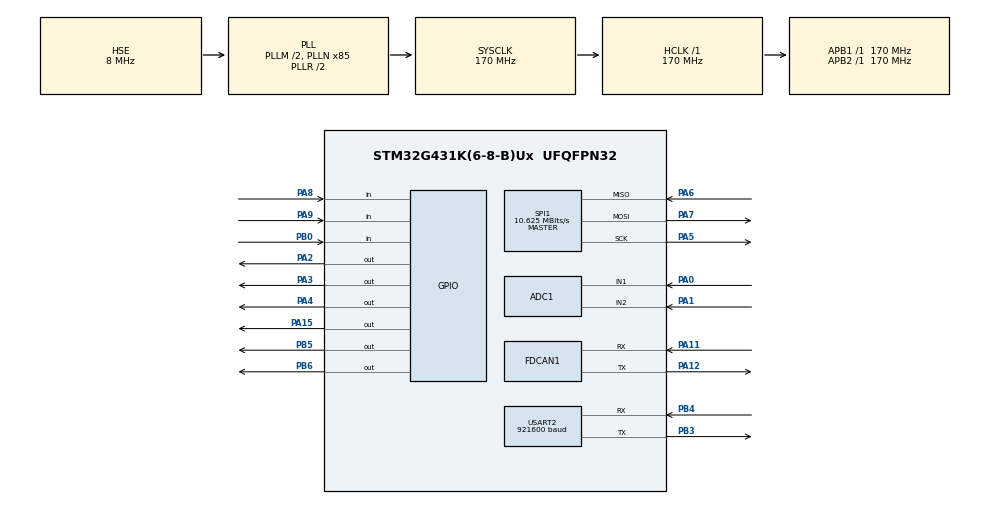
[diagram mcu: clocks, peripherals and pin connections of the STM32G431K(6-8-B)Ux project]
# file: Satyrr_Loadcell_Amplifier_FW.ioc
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ADC1.Channel-0\#ChannelRegularConversion=ADC_CHANNEL_1
ADC1.NbrOfConversionFlag=1
ADC1.OffsetNumber-0\#ChannelRegularConversion=ADC_OFFSET_NONE
ADC1.Rank-0\#ChannelRegularConversion=1
ADC1.SamplingTime-0\#ChannelRegularConversion=ADC_SAMPLETIME_2CYCLES_5
ADC1.SingleDiff-0\#ChannelRegularConversion=ADC_DIFFERENTIAL_ENDED
ADC1.master=1
FDCAN1.CalculateBaudRateNominal=1000000
FDCAN1.CalculateTimeBitNominal=1000
FDCAN1.CalculateTimeQuantumNominal=200.0
FDCAN1.NominalPrescaler=34
Mcu.Family=STM32G4
Mcu.Name=STM32G431K(6-8-B)Ux
Mcu.Package=UFQFPN32
NVIC.FDCAN1_IT0_IRQn=true\:0\:0\:false\:false\:true\:true\:true\:true
NVIC.PriorityGroup=NVIC_PRIORITYGROUP_4
NVIC.TIM1_UP_TIM16_IRQn=true\:0\:0\:false\:false\:true\:true\:true\:true
PA0.Mode=IN1-Differential
PA0.Signal=ADC1_IN1
PA1.Mode=IN1-Differential
PA1.Signal=ADC1_IN2
PA11.Mode=FDCAN_Activate
PA11.Signal=FDCAN1_RX
PA12.Mode=FDCAN_Activate
PA12.Signal=FDCAN1_TX
PA13.Mode=Serial_Wire
PA13.Signal=SYS_JTMS-SWDIO
PA14.Mode=Serial_Wire
PA14.Signal=SYS_JTCK-SWCLK
PA15.Signal=GPIO_Output
PA2.Signal=GPIO_Output
PA3.Signal=GPIO_Output
PA4.Signal=GPIO_Output
PA5.Mode=Full_Duplex_Master
PA5.Signal=SPI1_SCK
PA6.Mode=Full_Duplex_Master
PA6.Signal=SPI1_MISO
PA7.Mode=Full_Duplex_Master
PA7.Signal=SPI1_MOSI
PA8.Signal=GPIO_Input
PA9.Signal=GPIO_Input
PB0.Signal=GPIO_Input
PB3.Mode=Asynchronous
PB3.Signal=USART2_TX
PB4.Mode=Asynchronous
PB4.Signal=USART2_RX
PB5.Signal=GPIO_Output
PB6.Signal=GPIO_Output
PB7.Signal=I2C1_SDA
PB8-BOOT0.Signal=I2C1_SCL
PF0-OSC_IN.Mode=HSE-External-Oscillator
PF0-OSC_IN.Signal=RCC_OSC_IN
PF1-OSC_OUT.Mode=HSE-External-Oscillator
PF1-OSC_OUT.Signal=RCC_OSC_OUT
ProjectManager.HeapSize=0x200
ProjectManager.StackSize=0x400
ProjectManager.TargetToolchain=STM32CubeIDE
RCC.ADC12Freq_Value=170000000
RCC.AHBFreq_Value=170000000
RCC.APB1Freq_Value=170000000
RCC.APB1TimFreq_Value=170000000
RCC.APB2Freq_Value=170000000
RCC.APB2TimFreq_Value=170000000
RCC.CortexFreq_Value=170000000
RCC.EXTERNAL_CLOCK_VALUE=12288000
RCC.HCLKFreq_Value=170000000
RCC.HSE_VALUE=8000000
RCC.HSI48_VALUE=48000000
RCC.HSI_VALUE=16000000
RCC.LSE_VALUE=32768
RCC.PLLM=RCC_PLLM_DIV2
RCC.PLLN=85
RCC.PLLSourceVirtual=RCC_PLLSOURCE_HSE
RCC.SYSCLKFreq_VALUE=170000000
RCC.SYSCLKSource=RCC_SYSCLKSOURCE_PLLCLK
RCC.USBFreq_Value=170000000
RCC.VCOOutputFreq_Value=340000000
SPI1.BaudRatePrescaler=SPI_BAUDRATEPRESCALER_16
SPI1.CLKPhase=SPI_PHASE_1EDGE
SPI1.CalculateBaudRate=10.625 MBits/s
SPI1.DataSize=SPI_DATASIZE_8BIT
SPI1.Direction=SPI_DIRECTION_2LINES
SPI1.Mode=SPI_MODE_MASTER
SPI1.VirtualType=VM_MASTER
TIM1.AutoReloadPreload=TIM_AUTORELOAD_PRELOAD_ENABLE
TIM1.PeriodNoDither=26000
TIM1.Prescaler=12
USART2.BaudRate=921600
USART2.Mode=MODE_TX
USART2.VirtualMode-Asynchronous=VM_ASYNC
VP_TIM1_VS_ClockSourceINT.Mode=Internal
VP_TIM2_VS_ClockSourceINT.Mode=Internal
board=custom

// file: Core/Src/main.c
/* USER CODE BEGIN Header */
/**
  ******************************************************************************
  * @file           : main.c
  * @brief          : Main program body
  ******************************************************************************
  * @attention
  *
  * Copyright (c) 2023 STMicroelectronics.
  * All rights reserved.
  *
  * This software is licensed under terms that can be found in the LICENSE file
  * in the root directory of this software component.
  * If no LICENSE file comes with this software, it is provided AS-IS.
  *
  ******************************************************************************
  */
/* USER CODE END Header */
#include "main.h"
#include "adc.h"
#include "fdcan.h"
#include "spi.h"
#include "tim.h"
#include "usart.h"
#include "gpio.h"

void SystemClock_Config(void);

/* USER CODE BEGIN 0 */

void usleep(uint32_t us)
{
    // Clock cycles per microsecond for a 170MHz clock
    const uint32_t CYCLES_PER_MICROSECOND = 13; // ---> 170/13 (~13 clock cycles per operation)

    uint32_t totalCycles = us * CYCLES_PER_MICROSECOND;

    // Loop to execute the NOP instruction for the desired delay
    for (uint32_t i = 0; i < totalCycles; ++i)
    {
        asm volatile("NOP");
    }
}

/* USER CODE END 0 */

int main(void)
{

  /* MCU Configuration--------------------------------------------------------*/

  /* Reset of all peripherals, Initializes the Flash interface and the Systick. */
  HAL_Init();

  /* Configure the system clock */
  SystemClock_Config();

  /* USER CODE BEGIN SysInit */
  HAL_Delay(2000);
  /* USER CODE END SysInit */

  /* Initialize all configured peripherals */
  MX_GPIO_Init();
  MX_FDCAN1_Init();
  MX_SPI1_Init();
  MX_TIM2_Init();
  MX_ADC1_Init();
  MX_TIM1_Init();
  MX_USART2_UART_Init();
  /* USER CODE BEGIN 2 */

//  DWT_Init();

  // Enable GPIOB clock
  __HAL_RCC_GPIOA_CLK_ENABLE();
  __HAL_RCC_GPIOB_CLK_ENABLE();

  // Configure PB6 as output
  GPIO_InitTypeDef GPIO_InitStruct;
  GPIO_InitStruct.Pin = GPIO_PIN_5 | GPIO_PIN_6;
  GPIO_InitStruct.Mode = GPIO_MODE_OUTPUT_PP;
  GPIO_InitStruct.Pull = GPIO_NOPULL;
  GPIO_InitStruct.Speed = GPIO_SPEED_FREQ_HIGH;
  HAL_GPIO_Init(GPIOB, &GPIO_InitStruct);

  // Set chip selects as outputs and initialize them to high
  GPIO_InitTypeDef GPIO_InitStruct2 = {0};
  GPIO_InitStruct2.Pin = GPIO_PIN_2 | GPIO_PIN_3 | GPIO_PIN_4;
  GPIO_InitStruct2.Mode = GPIO_MODE_OUTPUT_PP;
  GPIO_InitStruct2.Pull = GPIO_NOPULL;
  GPIO_InitStruct2.Speed = GPIO_SPEED_FREQ_HIGH;
  HAL_GPIO_Init(GPIOA, &GPIO_InitStruct2);

  // GPIOA Pin 9 (PA9) configuration as input
  GPIO_InitTypeDef GPIO_InitStruct3;
  GPIO_InitStruct3.Pin = GPIO_PIN_9;
  GPIO_InitStruct3.Mode = GPIO_MODE_INPUT;
  GPIO_InitStruct3.Pull = GPIO_NOPULL;
  HAL_GPIO_Init(GPIOA, &GPIO_InitStruct3);

  // GPIOA Pin 8 (PA8) configuration as input
  GPIO_InitStruct3.Pin = GPIO_PIN_8;
  HAL_GPIO_Init(GPIOA, &GPIO_InitStruct3);

  // GPIOB Pin 0 (PB0) configuration as input
  GPIO_InitStruct3.Pin = GPIO_PIN_0;
  HAL_GPIO_Init(GPIOB, &GPIO_InitStruct3);

  // Initialize chip selects to high
  HAL_GPIO_WritePin(GPIOA, GPIO_PIN_2, GPIO_PIN_SET);
  HAL_GPIO_WritePin(GPIOA, GPIO_PIN_3, GPIO_PIN_SET);
  HAL_GPIO_WritePin(GPIOA, GPIO_PIN_4, GPIO_PIN_SET);

  HAL_FDCAN_Start(&hfdcan1);
  // Start Timer 1
//

  /* USER CODE END 2 */

  /* Infinite loop */
  /* USER CODE BEGIN WHILE */
  char message[] = "LoadCell Program Started.\r\n";
  HAL_UART_Transmit(&huart2, (uint8_t *)message, strlen(message),1);
  alt_main();

  while (1)
  {

    /* USER CODE END WHILE */

  }
}

void SystemClock_Config(void)
{
  RCC_OscInitTypeDef RCC_OscInitStruct = {0};
  RCC_ClkInitTypeDef RCC_ClkInitStruct = {0};

  /** Configure the main internal regulator output voltage
  */
  HAL_PWREx_ControlVoltageScaling(PWR_REGULATOR_VOLTAGE_SCALE1_BOOST);

  /** Initializes the RCC Oscillators according to the specified parameters
  * in the RCC_OscInitTypeDef structure.
  */
  RCC_OscInitStruct.OscillatorType = RCC_OSCILLATORTYPE_HSE;
  RCC_OscInitStruct.HSEState = RCC_HSE_ON;
  RCC_OscInitStruct.PLL.PLLState = RCC_PLL_ON;
  RCC_OscInitStruct.PLL.PLLSource = RCC_PLLSOURCE_HSE;
  RCC_OscInitStruct.PLL.PLLM = RCC_PLLM_DIV2;
  RCC_OscInitStruct.PLL.PLLN = 85;
  RCC_OscInitStruct.PLL.PLLP = RCC_PLLP_DIV2;
  RCC_OscInitStruct.PLL.PLLQ = RCC_PLLQ_DIV2;
  RCC_OscInitStruct.PLL.PLLR = RCC_PLLR_DIV2;
  if (HAL_RCC_OscConfig(&RCC_OscInitStruct) != HAL_OK)
  {
    Error_Handler();
  }

  /** Initializes the CPU, AHB and APB buses clocks
  */
  RCC_ClkInitStruct.ClockType = RCC_CLOCKTYPE_HCLK|RCC_CLOCKTYPE_SYSCLK
                              |RCC_CLOCKTYPE_PCLK1|RCC_CLOCKTYPE_PCLK2;
  RCC_ClkInitStruct.SYSCLKSource = RCC_SYSCLKSOURCE_PLLCLK;
  RCC_ClkInitStruct.AHBCLKDivider = RCC_SYSCLK_DIV1;
  RCC_ClkInitStruct.APB1CLKDivider = RCC_HCLK_DIV1;
  RCC_ClkInitStruct.APB2CLKDivider = RCC_HCLK_DIV1;

  if (HAL_RCC_ClockConfig(&RCC_ClkInitStruct, FLASH_LATENCY_4) != HAL_OK)
  {
    Error_Handler();
  }
}

void Error_Handler(void)
{
  __disable_irq();
  while (1)
  {
  }
}
